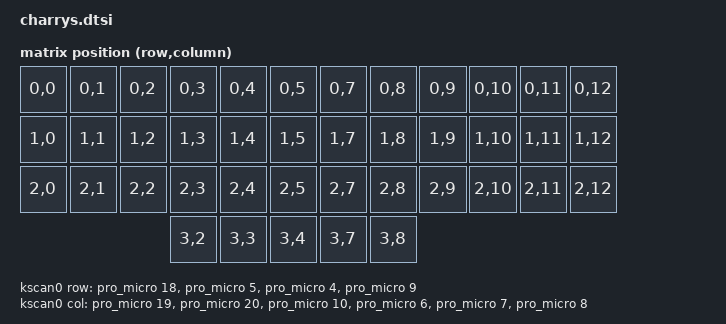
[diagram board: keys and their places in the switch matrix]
#include <dt-bindings/zmk/matrix_transform.h>
#include <dt-bindings/led/led.h>
#include "charrys-layouts.dtsi"

/ {

    chosen {
        zmk,kscan = &kscan0;
        zmk,matrix-transform = &default_transform;
        zmk,underglow = &ws2812_0;
        zmk,battery = &vbatt;
    };

    leds {
        compatible = "ws2812-led";
        chain-length = <1>;
        color-mapping = <LED_COLOR_ID_GREEN LED_COLOR_ID_RED LED_COLOR_ID_BLUE>;
        label = "WS2812_LED";

        ws2812_0: ws2812_0 {
            compatible = "zephyr,ws2812-gpio";
            gpios = <&pro_micro 1 GPIO_ACTIVE_HIGH>;
            label = "WS2812_0";
        };
    };

    vbatt: vbatt {
        compatible = "zmk,battery-voltage-divider";
        label = "VBATT";
        io-channels = <&adc 2>;
        output-ohms = <2000000>;
        full-ohms = <(2000000 + 820000)>;
    };

    kscan0: kscan {
        compatible = "zmk,kscan-gpio-matrix";
        debounce-press-ms = <5>;
        debounce-release-ms = <5>;
        debounce-scan-period-ms = <1>;
        diode-direction = "row2col";
        row-gpios = 
      //   <&pro_micro 21 GPIO_ACTIVE_HIGH>,
            <&pro_micro 18 GPIO_ACTIVE_HIGH>,
            <&pro_micro 5 GPIO_ACTIVE_HIGH>,
            <&pro_micro 4 GPIO_ACTIVE_HIGH>,
            <&pro_micro 9 GPIO_ACTIVE_HIGH>;
           
        col-gpios =
            <&pro_micro 19 (GPIO_ACTIVE_HIGH | GPIO_PULL_DOWN)>,
            <&pro_micro 20 (GPIO_ACTIVE_HIGH | GPIO_PULL_DOWN)>,
            <&pro_micro 10 (GPIO_ACTIVE_HIGH | GPIO_PULL_DOWN)>,
            <&pro_micro 6 (GPIO_ACTIVE_HIGH | GPIO_PULL_DOWN)>,
            <&pro_micro 7 (GPIO_ACTIVE_HIGH | GPIO_PULL_DOWN)>,
            <&pro_micro 8 (GPIO_ACTIVE_HIGH | GPIO_PULL_DOWN)>;
    };

       default_transform: default_transform_0 {
           compatible = "zmk,matrix-transform";
           columns = <12>;
           rows = <4>;
           map = <
               RC(0,0) RC(0,1) RC(0,2) RC(0,3) RC(0,4) RC(0,5)     RC(0,7) RC(0,8) RC(0,9) RC(0,10) RC(0,11) RC(0,12)
               RC(1,0) RC(1,1) RC(1,2) RC(1,3) RC(1,4) RC(1,5)     RC(1,7) RC(1,8) RC(1,9) RC(1,10) RC(1,11) RC(1,12)
               RC(2,0) RC(2,1) RC(2,2) RC(2,3) RC(2,4) RC(2,5)     RC(2,7) RC(2,8) RC(2,9) RC(2,10) RC(2,11) RC(2,12)
                                       RC(3,2) RC(3,3) RC(3,4)     RC(3,7) RC(3,8)
           >;
       };
   }; 
